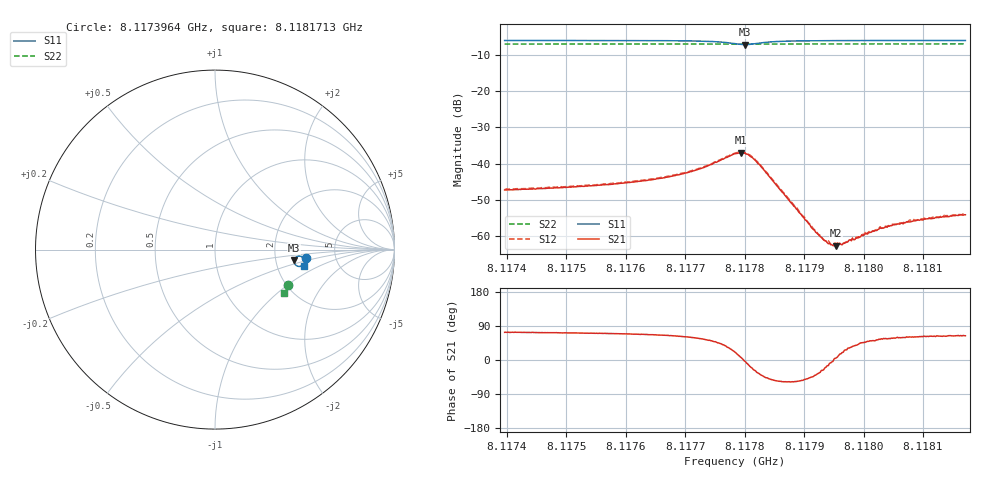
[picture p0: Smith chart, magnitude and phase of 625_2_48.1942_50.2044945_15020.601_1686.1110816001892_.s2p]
#  HZ  S  RI  R  50.00
! Rohde & Schwarz Vector Network Analyzer
! Rohde-Schwarz,ZNB20-2Port,1311601062101988,3.16
! Created: UTC 3/20/2024, 12:04:04 PM
! freq[Hz]  re:S11  im:S11  re:S21  im:S21  re:S12  im:S12  re:S22  im:S22
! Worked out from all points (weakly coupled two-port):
!   401 points, 8.1173964 GHz to 8.1181713 GHz, reference 50 ohm
!   highest |S21| = -36.99 dB at 8.1177936 GHz (marker M1); lowest = -62.8 dB at 8.1179544 GHz (marker M2)
!   lowest |S11| = -7.0 dB at 8.1178013 GHz (marker M3), VSWR 2.60, Z = 127 - j19.2 ohm
!   |S11| at or under -10 dB: nowhere
!   |S22| runs from -6.9 to -6.8 dB; largest |S21 - S12| = 0.00049
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8.11739643e9  0.5049 -0.0458  0.00126 0.00412  0.00129 0.00417  0.4084 -0.1945
8.11752622e9  0.503 -0.0577  0.00158 0.00458  0.00164 0.00466  0.4046 -0.203
8.11758628e9  0.5015 -0.0642  0.00183 0.00492  0.00192 0.00502  0.4027 -0.2067
8.11765602e9  0.4985 -0.0731  0.00255 0.00565  0.00262 0.00576  0.4008 -0.2113
8.11769283e9  0.4951 -0.0795  0.00331 0.00629  0.0034 0.00646  0.3993 -0.2138
8.11772188e9  0.4899 -0.0856  0.00448 0.00699  0.00459 0.00714  0.3981 -0.2158
8.11778388e9  0.4497 -0.0861  0.0128 0.00489  0.013 0.0049  0.3947 -0.2189
8.11779356e9  0.4416 -0.0738  0.014 0.00182  0.0142 0.00201  0.3941 -0.2189
8.11780131e9  0.4407 -0.0606  0.0137 -0.00101  0.014 -0.00114  0.3941 -0.2187
8.11781294e9  0.4498 -0.0436  0.0112 -0.00446  0.0115 -0.00472  0.3943 -0.2189
8.11782456e9  0.4643 -0.0365  0.00794 -0.00578  0.00793 -0.00599  0.3946 -0.2193
8.11785749e9  0.4895 -0.0442  0.00257 -0.00382  0.00261 -0.00393  0.3945 -0.222
8.11791367e9  0.4989 -0.0605  0.0009 -0.000891  0.000958 -0.000901  0.3931 -0.2261
8.11793498e9  0.4996 -0.0647  0.000798 -0.000302  0.000796 -0.000325  0.3925 -0.2276
8.11794467e9  0.4998 -0.0664  0.000753 -0.000102  0.000744 -0.000114  0.3922 -0.2283
8.11795436e9  0.4999 -0.068  0.000724 6.99e-05  0.000717 3.39e-05  0.3918 -0.2289
8.11796792e9  0.5 -0.07  0.000708 0.000341  0.000733 0.000315  0.3914 -0.2298
8.11800085e9  0.5001 -0.0744  0.000712 0.000742  0.000732 0.000753  0.3904 -0.2319
8.11804347e9  0.4997 -0.0793  0.000747 0.00113  0.000708 0.00119  0.3888 -0.2347
8.11808028e9  0.4994 -0.0831  0.000779 0.00137  0.000806 0.0014  0.3875 -0.2369
8.11812483e9  0.4988 -0.0874  0.000809 0.0016  0.0009 0.00158  0.3861 -0.2396
8.11817133e9  0.4981 -0.0916  0.000857 0.00176  0.000889 0.00181  0.3844 -0.2426
